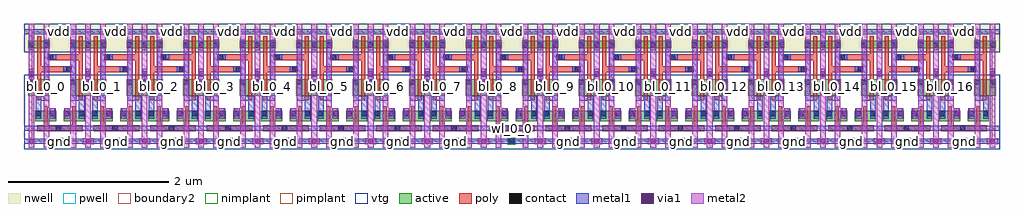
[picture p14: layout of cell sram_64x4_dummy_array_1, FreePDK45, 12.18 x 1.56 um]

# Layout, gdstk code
import gdstk
lib = gdstk.Library(unit=1e-6, precision=5e-10)
def R(c, l, rs):  # rectangles x0, y0, x1, y1
    for r in rs: c.add(gdstk.rectangle(r[:2], r[2:], *l))
def A(c, l, x, y, w, h, nx, ny, dx, dy):  # array of equal rectangles
    R(c, l, [(x+i*dx, y+j*dy, x+i*dx+w, y+j*dy+h) for i in range(nx) for j in range(ny)])
active = (1, 0)
pwell = (2, 0)
nwell = (3, 0)
nimplant = (4, 0)
pimplant = (5, 0)
vtg = (6, 0)
poly = (9, 0)
contact = (10, 0)
metal1 = (11, 0)
via1 = (12, 0)
metal2 = (13, 0)
boundary2 = (239, 0)

dummy_cell_1rw = lib.new_cell('dummy_cell_1rw')
R(dummy_cell_1rw, active, [(0.3025,-0.045,0.3925,0.045), (0.3025,-0.045,0.3925,0.045), (0.045,0.2475,0.305,0.3825), (0.045,0.2475,0.12,0.3825), (0.045,0.2475,0.12,0.3825), (0.23,0.2475,0.305,0.3825), (0.23,0.2475,0.305,0.3825), (0.4,0.2475,0.66,0.3825), (0.4,0.2475,0.475,0.3825), (0.4,0.2475,0.475,0.3825), (0.585,0.2475,0.66,0.3825), (0.585,0.2475,0.66,0.3825), (0.045,0.3075,0.12,0.3825), (0.23,0.3075,0.305,0.3825), (0.4,0.3075,0.475,0.3825), (0.585,0.3075,0.66,0.3825), (-0.04,0.5675,0.04,0.7725), (-0.035,0.5675,0.225,0.7725), (-0.035,0.5675,0.04,0.7725), (0.15,0.5675,0.225,0.7725), (0.15,0.5675,0.225,0.7725), (0.48,0.5675,0.74,0.7725), (0.48,0.5675,0.555,0.7725), (0.48,0.5675,0.555,0.7725), (0.665,0.5675,0.74,0.7725), (0.665,0.5675,0.745,0.7725), (-0.035,0.6975,0.04,0.7725), (0.15,0.6975,0.225,0.7725), (0.48,0.6975,0.555,0.7725), (0.665,0.6975,0.74,0.7725), (-0.04,1.1625,0.04,1.2525), (-0.035,1.1625,0.04,1.2375), (-0.035,1.1625,0.225,1.2525), (-0.035,1.1625,0.04,1.2525), (0.15,1.1625,0.225,1.2375), (0.15,1.1625,0.225,1.2525), (0.15,1.1625,0.225,1.2525), (0.48,1.1625,0.555,1.2375), (0.48,1.1625,0.74,1.2525), (0.48,1.1625,0.555,1.2525), (0.48,1.1625,0.555,1.2525), (0.665,1.1625,0.74,1.2375), (0.665,1.1625,0.74,1.2525), (0.665,1.1625,0.745,1.2525), (0.3025,1.32,0.3925,1.41), (0.3025,1.32,0.3925,1.41)])
R(dummy_cell_1rw, pwell, [(-0.095,-0.1,0.8,0.8275), (0.2475,-0.1,0.4475,0.1), (0.2475,-0.08,0.4475,0.12), (-0.01,0.1925,0.36,0.4375), (0.345,0.1925,0.715,0.4375), (-0.09,0.5125,0.28,0.8275), (0.425,0.5125,0.795,0.8275)])
R(dummy_cell_1rw, nwell, [(-0.095,1.1075,0.8,1.465), (-0.09,1.1075,0.28,1.3075), (0.425,1.1075,0.795,1.3075), (0.2475,1.265,0.4475,1.465), (0.2475,1.265,0.4475,1.465)])
R(dummy_cell_1rw, nimplant, [(0.045,0.2475,0.305,0.3825), (0.4,0.2475,0.66,0.3825), (-0.035,0.5675,0.225,0.7725), (0.48,0.5675,0.74,0.7725), (0.3025,1.32,0.3925,1.41), (0.3025,1.32,0.3925,1.41)])
R(dummy_cell_1rw, pimplant, [(0.3025,-0.045,0.3925,0.045), (-0.035,1.1625,0.225,1.2525), (0.48,1.1625,0.74,1.2525)])
R(dummy_cell_1rw, vtg, [(-0.09,-0.1,0.795,0.8275), (-0.01,0.1925,0.36,0.4375), (0.345,0.1925,0.715,0.4375), (-0.09,0.5125,0.28,0.8275), (0.425,0.5125,0.795,0.8275), (-0.09,1.1075,0.28,1.3075), (-0.09,1.1075,0.795,1.465), (0.425,1.1075,0.795,1.3075)])
R(dummy_cell_1rw, poly, [(0.07,0.1225,0.635,0.1975), (0.2975,0.1225,0.3725,0.1975), (0.15,0.1925,0.2,0.2475), (0.15,0.1925,0.2,0.4375), (0.505,0.1925,0.555,0.2475), (0.505,0.1925,0.555,0.4375), (0.15,0.3825,0.2,0.4375), (0.505,0.3825,0.555,0.4375), (0.07,0.5125,0.12,0.5675), (0.07,0.5125,0.12,0.8275), (0.585,0.5125,0.635,0.5675), (0.585,0.5125,0.635,0.8275), (0.07,0.7725,0.12,0.8275), (0.585,0.7725,0.635,0.8275), (0.07,0.8275,0.12,1.1075), (0.07,0.8275,0.12,1.1075), (0.585,0.8275,0.635,1.1075), (0.585,0.8275,0.635,1.1075), (0.07,0.8625,0.5025,0.9375), (0.4275,0.8625,0.5025,0.9375), (0.4275,0.8625,0.5025,0.9375), (0.2025,1.0125,0.2775,1.0875), (0.2025,1.0125,0.2775,1.0875), (0.2025,1.0125,0.635,1.0875), (0.07,1.1075,0.12,1.1625), (0.07,1.1075,0.12,1.3075), (0.585,1.1075,0.635,1.1625), (0.585,1.1075,0.635,1.3075), (0.07,1.2525,0.12,1.3075), (0.585,1.2525,0.635,1.3075)])
R(dummy_cell_1rw, contact, [(0.315,-0.0325,0.38,0.0325), (0.3025,0.1275,0.3675,0.1925), (0.05,0.3125,0.115,0.3775), (0.235,0.3125,0.3,0.3775), (0.405,0.3125,0.47,0.3775), (0.59,0.3125,0.655,0.3775), (-0.0325,0.7025,0.0325,0.7675), (0.155,0.7025,0.22,0.7675), (0.485,0.7025,0.55,0.7675), (0.6725,0.7025,0.7375,0.7675), (0.4325,0.8675,0.4975,0.9325), (0.4325,0.8675,0.4975,0.9325), (0.2075,1.0175,0.2725,1.0825), (0.2075,1.0175,0.2725,1.0825), (-0.0325,1.1675,0.0325,1.2325), (0.155,1.1675,0.22,1.2325), (0.485,1.1675,0.55,1.2325), (0.6725,1.1675,0.7375,1.2325), (0.315,1.3325,0.38,1.3975)])
R(dummy_cell_1rw, metal1, [(-0.09,-0.0325,0.795,0.0325), (-0.09,-0.0325,0.795,0.0325), (0.285,-0.0325,0.42,0.0325), (0.285,-0.0325,0.42,0.0325), (0.6375,-0.0325,0.7725,0.0325), (0.6375,-0.0325,0.7725,0.0325), (0.6375,-0.0325,0.7725,0.0325), (0.6375,-0.0325,0.7725,0.0325), (-0.09,0.1275,0.795,0.1925), (-0.09,0.1275,0.795,0.1925), (0.2675,0.1275,0.4025,0.1925), (-0.085,0.13,-0.0325,0.1925), (0.62,0.13,0.6725,0.1925), (0.05,0.2775,0.115,0.4125), (0.05,0.2775,0.12,0.5675), (0.2225,0.2775,0.2875,0.4125), (0.235,0.2775,0.3,0.4125), (0.405,0.2775,0.47,0.4125), (0.4175,0.2775,0.4825,0.4125), (0.59,0.2775,0.655,0.4125), (0.59,0.2775,0.66,0.5675), (0.05,0.5025,0.22,0.5675), (0.155,0.5025,0.22,1.2425), (0.485,0.5025,0.66,0.5675), (0.485,0.5025,0.55,1.1325), (-0.035,0.6675,0.035,0.8025), (-0.035,0.6675,0.035,0.8025), (-0.03,0.6675,0.035,0.8025), (0.155,0.6675,0.22,0.8025), (0.485,0.6675,0.55,0.8025), (0.67,0.6675,0.735,0.8025), (0.67,0.6675,0.74,0.8025), (0.67,0.6675,0.74,0.8025), (0.67,0.6675,0.74,0.8025), (0.67,0.6675,0.74,0.8025), (0.67,0.6675,0.74,0.8025), (0.67,0.6675,0.74,0.8025), (-0.0325,0.77,0.0325,0.905), (-0.0325,0.77,0.0325,0.905), (-0.0325,0.77,0.0325,0.905), (-0.0325,0.77,0.0325,0.905), (-0.0325,0.77,0.0325,0.905), (-0.0325,0.77,0.0325,0.905), (0.6725,0.77,0.7375,0.905), (0.6725,0.77,0.7375,0.905), (0.6725,0.77,0.7375,0.905), (0.6725,0.77,0.7375,0.905), (0.6725,0.77,0.7375,0.905), (0.6725,0.77,0.7375,0.905), (0.6725,0.77,0.7375,0.905), (0.6725,0.77,0.7375,0.905), (0.6725,0.77,0.7375,0.905), (0.6725,0.77,0.7375,0.905), (0.6725,0.77,0.7375,0.905), (0.6725,0.77,0.7375,0.905), (0.6725,0.77,0.7375,0.905), (0.6725,0.77,0.7375,0.905), (0.6725,0.77,0.7375,0.905), (0.6725,0.77,0.7375,0.905), (0.6725,0.77,0.7375,0.905), (0.6725,0.77,0.7375,0.905), (0.6725,0.77,0.7375,0.905), (0.6725,0.77,0.7375,0.905), (0.6725,0.77,0.7375,0.905), (0.6725,0.77,0.7375,0.905), (0.6725,0.77,0.7375,0.905), (0.6725,0.77,0.7375,0.905), (0.3975,0.8675,0.5325,0.9325), (0.3975,0.8675,0.5325,0.9325), (0.1725,1.0175,0.3075,1.0825), (0.1725,1.0175,0.3075,1.0825), (-0.035,1.1325,0.035,1.3325), (-0.03,1.1325,0.035,1.2675), (0.155,1.1325,0.22,1.2675), (0.485,1.1325,0.55,1.2675), (0.67,1.1325,0.735,1.2675), (0.67,1.1325,0.74,1.3325), (0.67,1.1325,0.74,1.3325), (-0.09,1.3325,0.795,1.3975), (-0.09,1.3325,0.795,1.3975)])
R(dummy_cell_1rw, via1, [(-0.0325,-0.0325,0.0325,0.0325), (-0.0325,-0.0325,0.0325,0.0325), (0.6725,-0.0325,0.7375,0.0325), (0.6725,-0.0325,0.7375,0.0325), (0.6725,-0.0325,0.7375,0.0325), (0.6725,-0.0325,0.7375,0.0325), (-0.0325,0.805,0.0325,0.87), (-0.0325,0.805,0.0325,0.87), (-0.0325,0.805,0.0325,0.87), (-0.0325,0.805,0.0325,0.87), (-0.0325,0.805,0.0325,0.87), (-0.0325,0.805,0.0325,0.87), (0.6725,0.805,0.7375,0.87), (0.6725,0.805,0.7375,0.87), (0.6725,0.805,0.7375,0.87), (0.6725,0.805,0.7375,0.87), (0.6725,0.805,0.7375,0.87), (0.6725,0.805,0.7375,0.87), (0.6725,0.805,0.7375,0.87), (0.6725,0.805,0.7375,0.87), (0.6725,0.805,0.7375,0.87), (0.6725,0.805,0.7375,0.87), (0.6725,0.805,0.7375,0.87), (0.6725,0.805,0.7375,0.87), (0.6725,0.805,0.7375,0.87), (0.6725,0.805,0.7375,0.87), (0.6725,0.805,0.7375,0.87), (0.6725,0.805,0.7375,0.87), (0.6725,0.805,0.7375,0.87), (0.6725,0.805,0.7375,0.87), (0.6725,0.805,0.7375,0.87), (0.6725,0.805,0.7375,0.87), (0.6725,0.805,0.7375,0.87), (0.6725,0.805,0.7375,0.87), (0.6725,0.805,0.7375,0.87), (0.6725,0.805,0.7375,0.87)])
R(dummy_cell_1rw, metal2, [(-0.035,-0.08,0.035,1.465), (0.15,-0.08,0.22,1.465), (0.15,-0.08,0.22,1.465), (0.485,-0.08,0.555,1.465), (0.485,-0.08,0.555,1.465), (0.67,-0.08,0.74,1.465), (0.6375,-0.035,0.7725,0.035), (0.6375,-0.035,0.7725,0.035), (0.6375,-0.035,0.7725,0.035), (0.6375,-0.035,0.7725,0.035), (0.4925,-0.0325,0.55,0.0275), (-0.03,-0.03,0.03,0.0275), (0.1575,-0.025,0.2125,0.0275), (0.675,-0.025,0.735,0.0325), (0.67,-0.0125,0.74,1.3975), (0.22,0.2775,0.29,0.4125), (0.415,0.2775,0.485,0.4125), (-0.035,0.77,0.035,0.905), (-0.035,0.77,0.035,0.905), (-0.035,0.77,0.035,0.905), (-0.035,0.77,0.035,0.905), (-0.035,0.77,0.035,0.905), (-0.035,0.77,0.035,0.905), (0.67,0.77,0.74,0.905), (0.67,0.77,0.74,0.905), (0.67,0.77,0.74,0.905), (0.67,0.77,0.74,0.905), (0.67,0.77,0.74,0.905), (0.67,0.77,0.74,0.905), (0.67,0.77,0.74,0.905), (0.67,0.77,0.74,0.905), (0.67,0.77,0.74,0.905), (0.67,0.77,0.74,0.905), (0.67,0.77,0.74,0.905), (0.67,0.77,0.74,0.905), (0.67,0.77,0.74,0.905), (0.67,0.77,0.74,0.905), (0.67,0.77,0.74,0.905), (0.67,0.77,0.74,0.905), (0.67,0.77,0.74,0.905), (0.67,0.77,0.74,0.905), (0.67,0.77,0.74,0.905), (0.67,0.77,0.74,0.905), (0.67,0.77,0.74,0.905), (0.67,0.77,0.74,0.905), (0.67,0.77,0.74,0.905), (0.67,0.77,0.74,0.905)])
R(dummy_cell_1rw, boundary2, [(0,0.02,0.705,1.365)])
dummy_cell_1rw.add(gdstk.Label('gnd', (0.345,0), layer=11, texttype=0))
dummy_cell_1rw.add(gdstk.Label('vdd', (0.345,1.365), layer=11, texttype=0))
dummy_cell_1rw.add(gdstk.Label('wl', (-0.05,0.167), layer=11, texttype=0))
dummy_cell_1rw.add(gdstk.Label('br', (0.52,0.003), layer=13, texttype=0))
dummy_cell_1rw.add(gdstk.Label('bl', (0.19,0.003), layer=13, texttype=0))
dummy_cell_1rw.add(gdstk.Label('bl', (0.185,0.6925), layer=13, texttype=0))
dummy_cell_1rw.add(gdstk.Label('br', (0.52,0.6925), layer=13, texttype=0))
dummy_cell_1rw.add(gdstk.Label('wl', (0.3525,0.16), layer=11, texttype=0))
dummy_cell_1rw.add(gdstk.Label('vdd', (0.3525,1.365), layer=11, texttype=0))
dummy_cell_1rw.add(gdstk.Label('gnd', (0.3525,0), layer=11, texttype=0))

sram_64x4_dummy_array_1 = lib.new_cell('sram_64x4_dummy_array_1')
A(sram_64x4_dummy_array_1, metal1, -0.09, -0.0325, 0.885, 0.065, 17, 2, 0.705, 1.365)
R(sram_64x4_dummy_array_1, metal1, [(0,0.1275,11.985,0.1925)])
R(sram_64x4_dummy_array_1, metal2, [(0.15,0,0.22,1.365), (0.485,0,0.555,1.365), (0.855,0,0.925,1.365), (1.19,0,1.26,1.365), (1.56,0,1.63,1.365), (1.895,0,1.965,1.365), (2.265,0,2.335,1.365), (2.6,0,2.67,1.365), (2.97,0,3.04,1.365), (3.305,0,3.375,1.365), (3.675,0,3.745,1.365), (4.01,0,4.08,1.365), (4.38,0,4.45,1.365), (4.715,0,4.785,1.365), (5.085,0,5.155,1.365), (5.42,0,5.49,1.365), (5.79,0,5.86,1.365), (6.125,0,6.195,1.365), (6.495,0,6.565,1.365), (6.83,0,6.9,1.365), (7.2,0,7.27,1.365), (7.535,0,7.605,1.365), (7.905,0,7.975,1.365), (8.24,0,8.31,1.365), (8.61,0,8.68,1.365), (8.945,0,9.015,1.365), (9.315,0,9.385,1.365), (9.65,0,9.72,1.365), (10.02,0,10.09,1.365), (10.355,0,10.425,1.365), (10.725,0,10.795,1.365), (11.06,0,11.13,1.365), (11.43,0,11.5,1.365), (11.765,0,11.835,1.365)])
R(sram_64x4_dummy_array_1, boundary2, [(0,0,11.985,1.365)])
sram_64x4_dummy_array_1.add(gdstk.Reference(dummy_cell_1rw, (0,0)))
sram_64x4_dummy_array_1.add(gdstk.Reference(dummy_cell_1rw, (0.705,0)))
sram_64x4_dummy_array_1.add(gdstk.Reference(dummy_cell_1rw, (1.41,0)))
sram_64x4_dummy_array_1.add(gdstk.Reference(dummy_cell_1rw, (2.115,0)))
sram_64x4_dummy_array_1.add(gdstk.Reference(dummy_cell_1rw, (2.82,0)))
sram_64x4_dummy_array_1.add(gdstk.Reference(dummy_cell_1rw, (3.525,0)))
sram_64x4_dummy_array_1.add(gdstk.Reference(dummy_cell_1rw, (4.23,0)))
sram_64x4_dummy_array_1.add(gdstk.Reference(dummy_cell_1rw, (4.935,0)))
sram_64x4_dummy_array_1.add(gdstk.Reference(dummy_cell_1rw, (5.64,0)))
sram_64x4_dummy_array_1.add(gdstk.Reference(dummy_cell_1rw, (6.345,0)))
sram_64x4_dummy_array_1.add(gdstk.Reference(dummy_cell_1rw, (7.05,0)))
sram_64x4_dummy_array_1.add(gdstk.Reference(dummy_cell_1rw, (7.755,0)))
sram_64x4_dummy_array_1.add(gdstk.Reference(dummy_cell_1rw, (8.46,0)))
sram_64x4_dummy_array_1.add(gdstk.Reference(dummy_cell_1rw, (9.165,0)))
sram_64x4_dummy_array_1.add(gdstk.Reference(dummy_cell_1rw, (9.87,0)))
sram_64x4_dummy_array_1.add(gdstk.Reference(dummy_cell_1rw, (10.575,0)))
sram_64x4_dummy_array_1.add(gdstk.Reference(dummy_cell_1rw, (11.28,0)))
sram_64x4_dummy_array_1.add(gdstk.Label('bl_0_0', (0.185,0.6825), layer=13, texttype=0))
sram_64x4_dummy_array_1.add(gdstk.Label('br_0_0', (0.52,0.6825), layer=13, texttype=0))
sram_64x4_dummy_array_1.add(gdstk.Label('bl_0_1', (0.89,0.6825), layer=13, texttype=0))
sram_64x4_dummy_array_1.add(gdstk.Label('br_0_1', (1.225,0.6825), layer=13, texttype=0))
sram_64x4_dummy_array_1.add(gdstk.Label('bl_0_2', (1.595,0.6825), layer=13, texttype=0))
sram_64x4_dummy_array_1.add(gdstk.Label('br_0_2', (1.93,0.6825), layer=13, texttype=0))
sram_64x4_dummy_array_1.add(gdstk.Label('bl_0_3', (2.3,0.6825), layer=13, texttype=0))
sram_64x4_dummy_array_1.add(gdstk.Label('br_0_3', (2.635,0.6825), layer=13, texttype=0))
sram_64x4_dummy_array_1.add(gdstk.Label('bl_0_4', (3.005,0.6825), layer=13, texttype=0))
sram_64x4_dummy_array_1.add(gdstk.Label('br_0_4', (3.34,0.6825), layer=13, texttype=0))
sram_64x4_dummy_array_1.add(gdstk.Label('bl_0_5', (3.71,0.6825), layer=13, texttype=0))
sram_64x4_dummy_array_1.add(gdstk.Label('br_0_5', (4.045,0.6825), layer=13, texttype=0))
sram_64x4_dummy_array_1.add(gdstk.Label('bl_0_6', (4.415,0.6825), layer=13, texttype=0))
sram_64x4_dummy_array_1.add(gdstk.Label('br_0_6', (4.75,0.6825), layer=13, texttype=0))
sram_64x4_dummy_array_1.add(gdstk.Label('bl_0_7', (5.12,0.6825), layer=13, texttype=0))
sram_64x4_dummy_array_1.add(gdstk.Label('br_0_7', (5.455,0.6825), layer=13, texttype=0))
sram_64x4_dummy_array_1.add(gdstk.Label('bl_0_8', (5.825,0.6825), layer=13, texttype=0))
sram_64x4_dummy_array_1.add(gdstk.Label('br_0_8', (6.16,0.6825), layer=13, texttype=0))
sram_64x4_dummy_array_1.add(gdstk.Label('bl_0_9', (6.53,0.6825), layer=13, texttype=0))
sram_64x4_dummy_array_1.add(gdstk.Label('br_0_9', (6.865,0.6825), layer=13, texttype=0))
sram_64x4_dummy_array_1.add(gdstk.Label('bl_0_10', (7.235,0.6825), layer=13, texttype=0))
sram_64x4_dummy_array_1.add(gdstk.Label('br_0_10', (7.57,0.6825), layer=13, texttype=0))
sram_64x4_dummy_array_1.add(gdstk.Label('bl_0_11', (7.94,0.6825), layer=13, texttype=0))
sram_64x4_dummy_array_1.add(gdstk.Label('br_0_11', (8.275,0.6825), layer=13, texttype=0))
sram_64x4_dummy_array_1.add(gdstk.Label('bl_0_12', (8.645,0.6825), layer=13, texttype=0))
sram_64x4_dummy_array_1.add(gdstk.Label('br_0_12', (8.98,0.6825), layer=13, texttype=0))
sram_64x4_dummy_array_1.add(gdstk.Label('bl_0_13', (9.35,0.6825), layer=13, texttype=0))
sram_64x4_dummy_array_1.add(gdstk.Label('br_0_13', (9.685,0.6825), layer=13, texttype=0))
sram_64x4_dummy_array_1.add(gdstk.Label('bl_0_14', (10.055,0.6825), layer=13, texttype=0))
sram_64x4_dummy_array_1.add(gdstk.Label('br_0_14', (10.39,0.6825), layer=13, texttype=0))
sram_64x4_dummy_array_1.add(gdstk.Label('bl_0_15', (10.76,0.6825), layer=13, texttype=0))
sram_64x4_dummy_array_1.add(gdstk.Label('br_0_15', (11.095,0.6825), layer=13, texttype=0))
sram_64x4_dummy_array_1.add(gdstk.Label('bl_0_16', (11.465,0.6825), layer=13, texttype=0))
sram_64x4_dummy_array_1.add(gdstk.Label('br_0_16', (11.8,0.6825), layer=13, texttype=0))
sram_64x4_dummy_array_1.add(gdstk.Label('wl_0_0', (5.9925,0.16), layer=11, texttype=0))
sram_64x4_dummy_array_1.add(gdstk.Label('vdd', (0.3525,1.365), layer=11, texttype=0))
sram_64x4_dummy_array_1.add(gdstk.Label('vdd', (10.2225,1.365), layer=11, texttype=0))
sram_64x4_dummy_array_1.add(gdstk.Label('vdd', (3.1725,1.365), layer=11, texttype=0))
sram_64x4_dummy_array_1.add(gdstk.Label('vdd', (4.5825,1.365), layer=11, texttype=0))
sram_64x4_dummy_array_1.add(gdstk.Label('vdd', (6.6975,1.365), layer=11, texttype=0))
sram_64x4_dummy_array_1.add(gdstk.Label('vdd', (5.2875,1.365), layer=11, texttype=0))
sram_64x4_dummy_array_1.add(gdstk.Label('vdd', (8.1075,1.365), layer=11, texttype=0))
sram_64x4_dummy_array_1.add(gdstk.Label('vdd', (10.9275,1.365), layer=11, texttype=0))
sram_64x4_dummy_array_1.add(gdstk.Label('vdd', (2.4675,1.365), layer=11, texttype=0))
sram_64x4_dummy_array_1.add(gdstk.Label('vdd', (1.0575,1.365), layer=11, texttype=0))
sram_64x4_dummy_array_1.add(gdstk.Label('vdd', (11.6325,1.365), layer=11, texttype=0))
sram_64x4_dummy_array_1.add(gdstk.Label('vdd', (7.4025,1.365), layer=11, texttype=0))
sram_64x4_dummy_array_1.add(gdstk.Label('vdd', (3.8775,1.365), layer=11, texttype=0))
sram_64x4_dummy_array_1.add(gdstk.Label('vdd', (8.8125,1.365), layer=11, texttype=0))
sram_64x4_dummy_array_1.add(gdstk.Label('vdd', (1.7625,1.365), layer=11, texttype=0))
sram_64x4_dummy_array_1.add(gdstk.Label('vdd', (9.5175,1.365), layer=11, texttype=0))
sram_64x4_dummy_array_1.add(gdstk.Label('vdd', (5.9925,1.365), layer=11, texttype=0))
sram_64x4_dummy_array_1.add(gdstk.Label('gnd', (7.4025,0), layer=11, texttype=0))
sram_64x4_dummy_array_1.add(gdstk.Label('gnd', (4.5825,0), layer=11, texttype=0))
sram_64x4_dummy_array_1.add(gdstk.Label('gnd', (1.7625,0), layer=11, texttype=0))
sram_64x4_dummy_array_1.add(gdstk.Label('gnd', (10.9275,0), layer=11, texttype=0))
sram_64x4_dummy_array_1.add(gdstk.Label('gnd', (8.1075,0), layer=11, texttype=0))
sram_64x4_dummy_array_1.add(gdstk.Label('gnd', (3.1725,0), layer=11, texttype=0))
sram_64x4_dummy_array_1.add(gdstk.Label('gnd', (5.9925,0), layer=11, texttype=0))
sram_64x4_dummy_array_1.add(gdstk.Label('gnd', (8.8125,0), layer=11, texttype=0))
sram_64x4_dummy_array_1.add(gdstk.Label('gnd', (2.4675,0), layer=11, texttype=0))
sram_64x4_dummy_array_1.add(gdstk.Label('gnd', (3.8775,0), layer=11, texttype=0))
sram_64x4_dummy_array_1.add(gdstk.Label('gnd', (0.3525,0), layer=11, texttype=0))
sram_64x4_dummy_array_1.add(gdstk.Label('gnd', (9.5175,0), layer=11, texttype=0))
sram_64x4_dummy_array_1.add(gdstk.Label('gnd', (11.6325,0), layer=11, texttype=0))
sram_64x4_dummy_array_1.add(gdstk.Label('gnd', (5.2875,0), layer=11, texttype=0))
sram_64x4_dummy_array_1.add(gdstk.Label('gnd', (10.2225,0), layer=11, texttype=0))
sram_64x4_dummy_array_1.add(gdstk.Label('gnd', (1.0575,0), layer=11, texttype=0))
sram_64x4_dummy_array_1.add(gdstk.Label('gnd', (6.6975,0), layer=11, texttype=0))

lib.write_gds('sram_64x4_dummy_array_1.gds')
